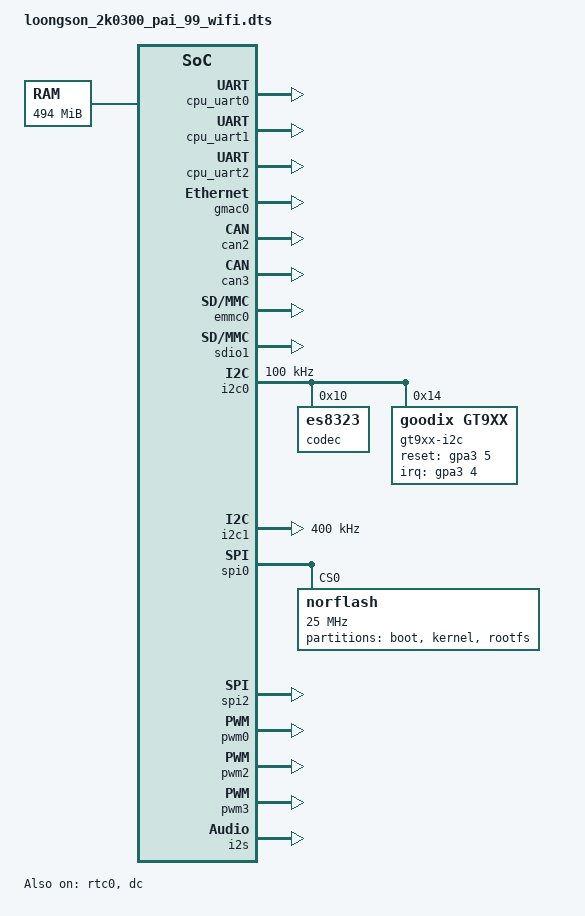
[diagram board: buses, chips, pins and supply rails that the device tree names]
#include "loongson_2k0300.dtsi"

/ {
    memory {
        name = "memory";
        device_type = "memory";
        reg =  <0 0x00200000 0 0x0ee00000
             0 0x90000000 0 0x10000000>;
    };
};

&cpu_uart0{
    status = "okay";
    pinctrl-names = "default";
    pinctrl-0 = <&uart0_2bit_m0>;
};

&cpu_uart1{
    status = "okay";
    pinctrl-names = "default";
    pinctrl-0 = <&uart1_2bit_m0>;
};

&cpu_uart2{
    status = "okay";
    pinctrl-names = "default";
    pinctrl-0 = <&uart2_2bit_m0>;
};

&cpu_uart3{
    status = "disabled";
    pinctrl-names = "default";
    pinctrl-0 = <&uart3_2bit_m0>;
};

&gmac0{
    status = "okay";
    pinctrl-names = "default";
    pinctrl-0 = <&gmac0_12bit_f0>, <&gmac0_12bit_f1>;
};
&gmac1{
    status = "disable";
    pinctrl-names = "default";
    pinctrl-0 = <&gmac1_12bit_f0>, <&gmac1_12bit_f1>;
};
&rtc0{
	status = "okay";
};
&can2{
    status = "okay";
    pinctrl-names = "default";
    pinctrl-0 = <&can2_mux_m0>;
};
&can3{
    status = "okay";
    pinctrl-names = "default";
    pinctrl-0 = <&can3_mux_m0>;
};

&emmc0{
    status = "okay";
    pinctrl-names = "default";
    pinctrl-0 = <&sdio0_pin_f0>, <&sdio0_pin_f1>;
};
&sdio1{
    status = "okay";
    pinctrl-names = "default";
    pinctrl-0 = <&sdio1_6bit>;
};

&i2c0{
    status = "okay";
    clock-frequency = <100000>;
    pinctrl-names = "default";
    pinctrl-0 = <&i2c0_mux_m0>;

    codec@10{
        compatible = "es8323";
	reg = <0x10>;
    };

    gt9xx-i2c@14{
    	status = "okay";
    	compatible = "goodix,gt9xx";
    	reg = <0x14>;
    	reset-gpios = <&gpa3 5 GPIO_ACTIVE_HIGH>;
    	irq-gpios = <&gpa3 4 GPIO_ACTIVE_HIGH>;
    	irq-flags = <IRQ_TYPE_EDGE_FALLING>;
    	goodix,type-a-report = <0>;
	goodix,driver-send-cfg = <0>;
    	goodix,create-wr-node = <1>;
    	goodix,wakeup-with-reset = <0>;
    	goodix,resume-in-workqueue = <0>;
    	goodix,int-sync = <1>;
    	goodix,swap-x2y = <0>;
    	goodix,esd-protect = <0>;
	goodix,auto-update = <1>;
    	goodix,auto-update-cfg = <0>;
    	goodix,power-off-sleep = <0>;
    	goodix.pen-suppress-finger = <0>;
    	goodix,cfg-group0 = [
        	53 D0 02 00 05 05 F5 D5 21 48 2D 0F 5A 41 0E 05 00 00 32
            	32 20 00 05 14 14 1A 14 8B 2B 00
            	];
    };

};
&i2c1{
    status = "okay";
    clock-frequency = <400000>;
    pinctrl-names = "default";
    pinctrl-0 = <&i2c1_mux_m0>;
};

&spi0{
    status = "okay";
    pinctrl-names = "default";
    pinctrl-0 = <&spi0_6bit_f0>,<&spi0_6bit_f1>;

    norflash@0 {
       reg = <0>;
       spi-rx-bus-width = <4>;
       spi-max-frequency = <25000000>;
       #address-cells = <1>;
       #size-cells = <1>;
       partitions {
           compatible = "fixed-partitions";
           #address-cells = <1>;
           #size-cells = <1>;

           boot@0 {
               label = "boot";
               reg = <0x0000000 0x100000>;
               /*read-only;*/
           };

           kernel@100000 {
               label = "kernel";
               reg = <0x100000 0x600000>;
           };

           rootfs@700000 {
               label = "rootfs";
               reg = <0x700000 0x1000000>;
           };
       };

    };
};

&spi2{
    status = "okay";
    pinctrl-names = "default";
    pinctrl-0 = <&spi2_pin>;
};

&pwm0{
    status = "okay";
    pinctrl-names = "default";
    pinctrl-0 = <&pwm0_mux_m1>;
};
&pwm1{
    status = "disabled";
    pinctrl-names = "default";
    pinctrl-0 = <&pwm1_mux_m0>;
};

&pwm2{
    status = "okay";
    pinctrl-names = "default";
    pinctrl-0 = <&pwm2_mux_m1>;
};
&pwm3{
    status = "okay";
    pinctrl-names = "default";
    pinctrl-0 = <&pwm3_mux_m1>;
};

&i2s{
    status = "okay";
    pinctrl-names = "default";
    pinctrl-0 = <&i2s_pin_f0>, <&i2s_pin_f1>;
};

&sound{
    codec-names = "ES8323 PAIF RX","Playback", "ES8323 HiFi", "ES8323.0-0010",
					"ES8323 PAIF TX","Capture","ES8323 HiFi","ES8323.0-0010";
};

&dc{
    status = "okay";
    pinctrl-names = "default";
    pinctrl-0 = <&lcd_pin_f0>,<&lcd_pin_f1>;
};

